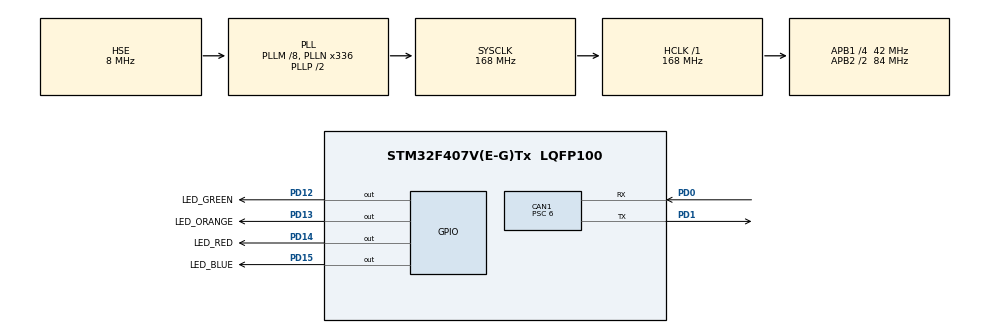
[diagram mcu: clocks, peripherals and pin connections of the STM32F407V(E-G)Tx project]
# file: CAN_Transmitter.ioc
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CAN1.ABOM=ENABLE
CAN1.BS1=CAN_BS1_11TQ
CAN1.BS2=CAN_BS2_2TQ
CAN1.CalculateBaudRate=500000
CAN1.CalculateTimeBit=2000
CAN1.CalculateTimeQuantum=142.85714285714286
CAN1.NART=ENABLE
CAN1.Prescaler=6
Mcu.Family=STM32F4
Mcu.Name=STM32F407V(E-G)Tx
Mcu.Package=LQFP100
NVIC.CAN1_TX_IRQn=true\:0\:0\:false\:false\:true\:true\:true\:true
NVIC.PriorityGroup=NVIC_PRIORITYGROUP_0
PA13.Mode=Serial_Wire
PA13.Signal=SYS_JTMS-SWDIO
PA14.Mode=Serial_Wire
PA14.Signal=SYS_JTCK-SWCLK
PD0.Mode=CAN_Activate
PD0.Signal=CAN1_RX
PD1.Mode=CAN_Activate
PD1.Signal=CAN1_TX
PD12.GPIO_Label=LED_GREEN
PD12.Signal=GPIO_Output
PD13.GPIO_Label=LED_ORANGE
PD13.Signal=GPIO_Output
PD14.GPIO_Label=LED_RED
PD14.Signal=GPIO_Output
PD15.GPIO_Label=LED_BLUE
PD15.Signal=GPIO_Output
PH0-OSC_IN.Mode=HSE-External-Oscillator
PH0-OSC_IN.Signal=RCC_OSC_IN
PH1-OSC_OUT.Mode=HSE-External-Oscillator
PH1-OSC_OUT.Signal=RCC_OSC_OUT
ProjectManager.HeapSize=0x200
ProjectManager.StackSize=0x400
ProjectManager.TargetToolchain=STM32CubeIDE
RCC.48MHZClocksFreq_Value=48000000
RCC.AHBFreq_Value=168000000
RCC.APB1CLKDivider=RCC_HCLK_DIV4
RCC.APB1Freq_Value=42000000
RCC.APB1TimFreq_Value=84000000
RCC.APB2CLKDivider=RCC_HCLK_DIV2
RCC.APB2Freq_Value=84000000
RCC.APB2TimFreq_Value=168000000
RCC.CortexFreq_Value=168000000
RCC.HCLKFreq_Value=168000000
RCC.HSE_VALUE=8000000
RCC.HSI_VALUE=16000000
RCC.LSE_VALUE=32768
RCC.PLLM=8
RCC.PLLN=336
RCC.PLLQ=7
RCC.PLLSourceVirtual=RCC_PLLSOURCE_HSE
RCC.SYSCLKFreq_VALUE=168000000
RCC.SYSCLKSource=RCC_SYSCLKSOURCE_PLLCLK
RCC.VCOOutputFreq_Value=336000000
board=STM32F407G-DISC1

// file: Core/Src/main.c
/* USER CODE BEGIN Header */
/**
  ******************************************************************************
  * @file           : main.c
  * @brief          : Main program body
  ******************************************************************************
  * @attention
  *
  * Copyright (c) 2026 STMicroelectronics.
  * All rights reserved.
  *
  * This software is licensed under terms that can be found in the LICENSE file
  * in the root directory of this software component.
  * If no LICENSE file comes with this software, it is provided AS-IS.
  *
  ******************************************************************************
  */
/* USER CODE END Header */
#include "main.h"

CAN_HandleTypeDef hcan1;

/* USER CODE BEGIN PV */

CAN_TxHeaderTypeDef TxHeader;   // Describes the frame: ID, length, type...
uint8_t  TxData[4];             // Payload (up to 8 bytes allowed in CAN)
uint32_t TxMailbox;             // Stores which of the 3 hardware mailboxes was used
uint8_t  counter = 0;           // Changes on each frame so you can see new data arriving

// ---- Diagnostic variables (add them to Live Expressions in the debugger) ----
uint32_t esr = 0;            // Copy of the CAN Error Status Register
uint8_t  lec = 0;            // Last Error Code (0..7), explained in the table below
uint8_t  tec = 0;            // Transmit Error Counter (rises on every failed transmission)
uint8_t  rec = 0;            // Receive Error Counter
uint32_t pclk1 = 0;          // Real APB1 clock: must be 42000000
uint32_t freeMailboxes = 0;  // Number of free TX mailboxes (3 = all free, 0 = all stuck)

/* USER CODE END PV */

void SystemClock_Config(void);
static void MX_GPIO_Init(void);
static void MX_CAN1_Init(void);

int main(void)
{

  /* MCU Configuration--------------------------------------------------------*/

  /* Reset of all peripherals, Initializes the Flash interface and the Systick. */
  HAL_Init();

  /* Configure the system clock */
  SystemClock_Config();

  /* Initialize all configured peripherals */
  MX_GPIO_Init();
  MX_CAN1_Init();
  /* USER CODE BEGIN 2 */

  // ---- Configure the frame header (same for every frame we send) ----
  TxHeader.StdId = 0x123;              // 11-bit identifier (receiver will filter on this)
  TxHeader.ExtId = 0;                  // Unused with standard IDs
  TxHeader.IDE   = CAN_ID_STD;         // Standard ID (11-bit); use CAN_ID_EXT for 29-bit
  TxHeader.RTR   = CAN_RTR_DATA;       // Data frame (not a remote request frame)
  TxHeader.DLC   = 4;                  // Number of data bytes (0 to 8)
  TxHeader.TransmitGlobalTime = DISABLE; // Only used in time-triggered mode

  // ---- Start the CAN peripheral (it leaves init mode and joins the bus) ----
  if (HAL_CAN_Start(&hcan1) != HAL_OK)
  {
      // CAN failed to start -> red LED ON and stop here
      HAL_GPIO_WritePin(LED_RED_GPIO_Port, LED_RED_Pin, GPIO_PIN_SET);
      Error_Handler();
  }

  // ---- Enable interrupt: "a TX mailbox has finished" ----
  if (HAL_CAN_ActivateNotification(&hcan1, CAN_IT_TX_MAILBOX_EMPTY) != HAL_OK)
  {
      HAL_GPIO_WritePin(LED_RED_GPIO_Port, LED_RED_Pin, GPIO_PIN_SET);
      Error_Handler();
  }

  // Blue LED ON = CAN started correctly
  HAL_GPIO_WritePin(LED_BLUE_GPIO_Port, LED_BLUE_Pin, GPIO_PIN_SET);

  // Read the real APB1 frequency to confirm the clock tree is what we configured
  pclk1 = HAL_RCC_GetPCLK1Freq();

  /* USER CODE END 2 */

  /* Infinite loop */
  while (1)
  {

    /* USER CODE BEGIN 3 */

	  // Fill the payload
	  TxData[0] = 0xAA;      // Fixed bytes (easy to recognize on the receiver)
	  TxData[1] = 0xBB;
	  TxData[2] = 0xCC;
	  TxData[3] = counter++; // Increments each frame (wraps at 255)

	  // Try to queue the frame. The red LED now follows the CURRENT state:
	    // ON if the queue failed, OFF if it worked (before, it stayed on forever)
	    if (HAL_CAN_AddTxMessage(&hcan1, &TxHeader, TxData, &TxMailbox) != HAL_OK)
	        HAL_GPIO_WritePin(LED_RED_GPIO_Port, LED_RED_Pin, GPIO_PIN_SET);
	    else
	        HAL_GPIO_WritePin(LED_RED_GPIO_Port, LED_RED_Pin, GPIO_PIN_RESET);

	    HAL_Delay(200);   // Give the hardware time to attempt the transmission

	    // ---- Read the error registers ----
	    esr = hcan1.Instance->ESR;
	    lec = (esr & CAN_ESR_LEC) >> CAN_ESR_LEC_Pos;   // Bits 6:4  -> last error code
	    tec = (esr & CAN_ESR_TEC) >> CAN_ESR_TEC_Pos;   // Bits 23:16 -> TX error counter
	    rec = (esr & CAN_ESR_REC) >> CAN_ESR_REC_Pos;   // Bits 31:24 -> RX error counter
	    freeMailboxes = HAL_CAN_GetTxMailboxesFreeLevel(&hcan1);

	    // LEC keeps its value until cleared, so clear it to get a fresh reading next time
	    CLEAR_BIT(hcan1.Instance->ESR, CAN_ESR_LEC);

	    // ---- Show the error code on the orange LED: blink "lec" times ----
	    for (uint8_t i = 0; i < lec; i++)
	    {
	        HAL_GPIO_WritePin(LED_ORANGE_GPIO_Port, LED_ORANGE_Pin, GPIO_PIN_SET);
	        HAL_Delay(150);
	        HAL_GPIO_WritePin(LED_ORANGE_GPIO_Port, LED_ORANGE_Pin, GPIO_PIN_RESET);
	        HAL_Delay(150);
	    }

	    HAL_Delay(1000);  // Pause between two reports
	  }
  /* USER CODE END 3 */
}

void SystemClock_Config(void)
{
  RCC_OscInitTypeDef RCC_OscInitStruct = {0};
  RCC_ClkInitTypeDef RCC_ClkInitStruct = {0};

  /** Configure the main internal regulator output voltage
  */
  __HAL_RCC_PWR_CLK_ENABLE();
  __HAL_PWR_VOLTAGESCALING_CONFIG(PWR_REGULATOR_VOLTAGE_SCALE1);

  /** Initializes the RCC Oscillators according to the specified parameters
  * in the RCC_OscInitTypeDef structure.
  */
  RCC_OscInitStruct.OscillatorType = RCC_OSCILLATORTYPE_HSE;
  RCC_OscInitStruct.HSEState = RCC_HSE_ON;
  RCC_OscInitStruct.PLL.PLLState = RCC_PLL_ON;
  RCC_OscInitStruct.PLL.PLLSource = RCC_PLLSOURCE_HSE;
  RCC_OscInitStruct.PLL.PLLM = 8;
  RCC_OscInitStruct.PLL.PLLN = 336;
  RCC_OscInitStruct.PLL.PLLP = RCC_PLLP_DIV2;
  RCC_OscInitStruct.PLL.PLLQ = 7;
  if (HAL_RCC_OscConfig(&RCC_OscInitStruct) != HAL_OK)
  {
    Error_Handler();
  }

  /** Initializes the CPU, AHB and APB buses clocks
  */
  RCC_ClkInitStruct.ClockType = RCC_CLOCKTYPE_HCLK|RCC_CLOCKTYPE_SYSCLK
                              |RCC_CLOCKTYPE_PCLK1|RCC_CLOCKTYPE_PCLK2;
  RCC_ClkInitStruct.SYSCLKSource = RCC_SYSCLKSOURCE_PLLCLK;
  RCC_ClkInitStruct.AHBCLKDivider = RCC_SYSCLK_DIV1;
  RCC_ClkInitStruct.APB1CLKDivider = RCC_HCLK_DIV4;
  RCC_ClkInitStruct.APB2CLKDivider = RCC_HCLK_DIV2;

  if (HAL_RCC_ClockConfig(&RCC_ClkInitStruct, FLASH_LATENCY_5) != HAL_OK)
  {
    Error_Handler();
  }
}

static void MX_CAN1_Init(void)
{

  hcan1.Instance = CAN1;
  hcan1.Init.Prescaler = 6;
  hcan1.Init.Mode = CAN_MODE_NORMAL;
  hcan1.Init.SyncJumpWidth = CAN_SJW_1TQ;
  hcan1.Init.TimeSeg1 = CAN_BS1_11TQ;
  hcan1.Init.TimeSeg2 = CAN_BS2_2TQ;
  hcan1.Init.TimeTriggeredMode = DISABLE;
  hcan1.Init.AutoBusOff = ENABLE;
  hcan1.Init.AutoWakeUp = DISABLE;
  hcan1.Init.AutoRetransmission = ENABLE;
  hcan1.Init.ReceiveFifoLocked = DISABLE;
  hcan1.Init.TransmitFifoPriority = DISABLE;
  if (HAL_CAN_Init(&hcan1) != HAL_OK)
  {
    Error_Handler();
  }

}

static void MX_GPIO_Init(void)
{
  GPIO_InitTypeDef GPIO_InitStruct = {0};

  /* GPIO Ports Clock Enable */
  __HAL_RCC_GPIOH_CLK_ENABLE();
  __HAL_RCC_GPIOD_CLK_ENABLE();
  __HAL_RCC_GPIOA_CLK_ENABLE();

  /*Configure GPIO pin Output Level */
  HAL_GPIO_WritePin(GPIOD, LED_GREEN_Pin|LED_ORANGE_Pin|LED_RED_Pin|LED_BLUE_Pin, GPIO_PIN_RESET);

  /*Configure GPIO pins : LED_GREEN_Pin LED_ORANGE_Pin LED_RED_Pin LED_BLUE_Pin */
  GPIO_InitStruct.Pin = LED_GREEN_Pin|LED_ORANGE_Pin|LED_RED_Pin|LED_BLUE_Pin;
  GPIO_InitStruct.Mode = GPIO_MODE_OUTPUT_PP;
  GPIO_InitStruct.Pull = GPIO_NOPULL;
  GPIO_InitStruct.Speed = GPIO_SPEED_FREQ_LOW;
  HAL_GPIO_Init(GPIOD, &GPIO_InitStruct);

}

/* USER CODE BEGIN 4 */

// Called by HAL when a frame in mailbox 0 was SUCCESSFULLY transmitted
// (this means another node acknowledged it on the bus)

void HAL_CAN_TxMailbox0CompleteCallback(CAN_HandleTypeDef *hcan)
{
    HAL_GPIO_TogglePin(LED_GREEN_GPIO_Port, LED_GREEN_Pin); // Green blinks = success
}

// Same for mailboxes 1 and 2 (HAL may pick any of the 3 mailboxes)
void HAL_CAN_TxMailbox1CompleteCallback(CAN_HandleTypeDef *hcan)
{
    HAL_GPIO_TogglePin(LED_GREEN_GPIO_Port, LED_GREEN_Pin);
}

void HAL_CAN_TxMailbox2CompleteCallback(CAN_HandleTypeDef *hcan)
{
    HAL_GPIO_TogglePin(LED_GREEN_GPIO_Port, LED_GREEN_Pin);
}

// Called if a transmission was aborted (arbitration lost / error) -> red LED
void HAL_CAN_TxMailbox0AbortCallback(CAN_HandleTypeDef *hcan)
{
    HAL_GPIO_WritePin(LED_RED_GPIO_Port, LED_RED_Pin, GPIO_PIN_SET);
}

/* USER CODE END 4 */

void Error_Handler(void)
{
  __disable_irq();
  while (1)
  {
  }
}
